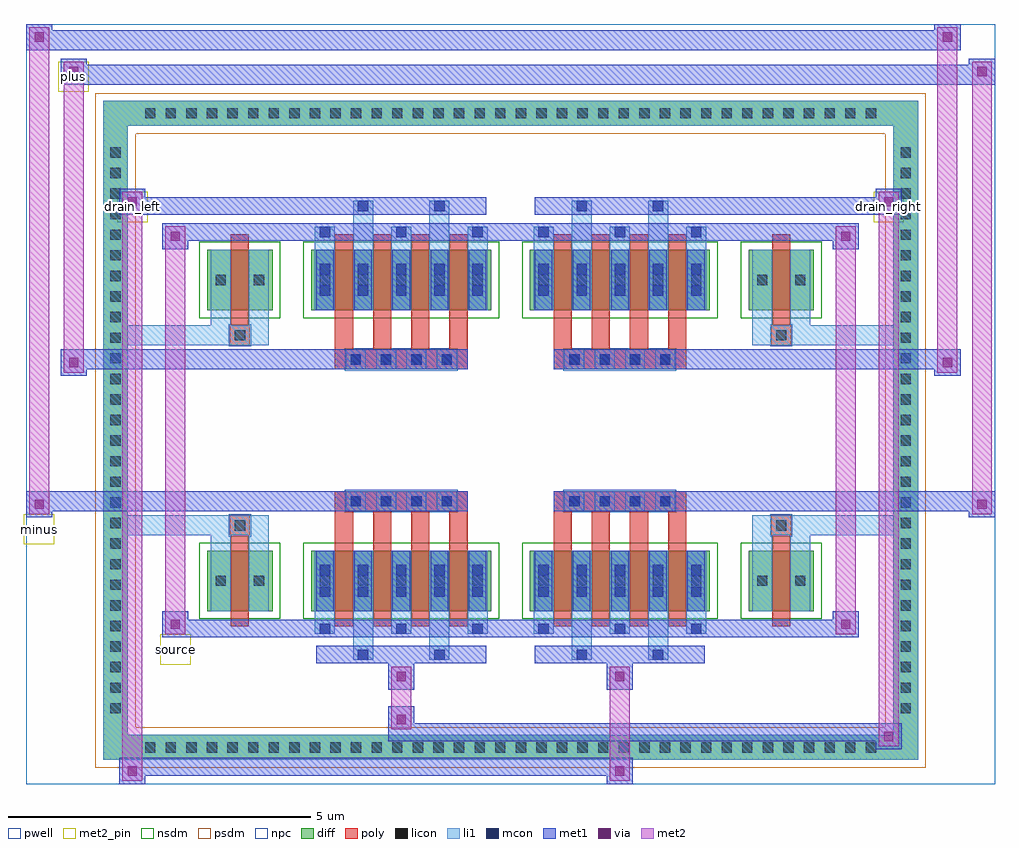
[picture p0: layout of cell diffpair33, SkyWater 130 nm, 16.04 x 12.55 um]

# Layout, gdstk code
import gdstk
lib = gdstk.Library(unit=1e-6, precision=5e-09)
def R(c, l, rs):  # rectangles x0, y0, x1, y1
    for r in rs: c.add(gdstk.rectangle(r[:2], r[2:], *l))
def A(c, l, x, y, w, h, nx, ny, dx, dy):  # array of equal rectangles
    R(c, l, [(x+i*dx, y+j*dy, x+i*dx+w, y+j*dy+h) for i in range(nx) for j in range(ny)])
def P(c, l, *ps):  # polygons
    for p in ps: c.add(gdstk.Polygon(p, *l))
pwell = (64, 44)
diff = (65, 20)
poly = (66, 20)
licon = (66, 44)
li1 = (67, 20)
mcon = (67, 44)
met1 = (68, 20)
via = (68, 44)
met2_pin = (69, 16)
met2 = (69, 20)
nsdm = (93, 44)
psdm = (94, 20)
npc = (95, 20)

diffpair33 = lib.new_cell('diffpair33')
R(diffpair33, pwell, [(-8,-5.84,8,6.71), (-5.32,-4.03,-0.01,-0.805), (0.01,-4.03,5.32,-0.805), (-5.32,0.805,-0.01,4.03), (0.01,0.805,5.32,4.03)])
A(diffpair33, diff, -6.155, -5.44, 0.41, 0.41, 36, 2, 0.34, 10.47)
A(diffpair33, diff, -6.73, -4.795, 0.41, 0.41, 1, 28, 0, 0.34)
A(diffpair33, diff, 6.32, -4.795, 0.41, 0.41, 1, 28, 0, 0.34)
R(diffpair33, diff, [(-6.155,-5.44,6.155,-5.03), (-6.73,-4.795,-6.32,4.795), (6.32,-4.795,6.73,4.795), (-5.01,-2.985,-3.93,-1.985), (-3.29,-2.985,-0.32,-1.985), (0.32,-2.985,3.29,-1.985), (3.93,-2.985,5.01,-1.985), (-5.01,1.985,-3.93,2.985), (-3.29,1.985,-0.32,2.985), (0.32,1.985,3.29,2.985), (3.93,1.985,5.01,2.985), (-6.155,5.03,6.155,5.44)])
P(diffpair33, diff, [(6.73,5.44),(-6.73,5.44),(-6.73,-5.03),(-6.32,-5.03),(-6.32,5.03),(6.32,5.03),(6.32,-5.03),(-6.32,-5.03),(-6.73,-5.03),(-6.73,-5.44),(6.73,-5.44)])
A(diffpair33, poly, -2.9, -3.235, 0.3, 1.5, 4, 2, 0.63, 4.97)
A(diffpair33, poly, 0.71, -3.235, 0.3, 1.5, 4, 2, 0.63, 4.97)
A(diffpair33, poly, -2.9, -1.735, 0.3, 0.4, 4, 2, 0.63, 3.07)
A(diffpair33, poly, 0.71, -1.735, 0.3, 0.4, 4, 2, 0.63, 3.07)
A(diffpair33, poly, -2.72, -1.335, 0.33, 0.33, 4, 2, 0.5, 2.34)
A(diffpair33, poly, 0.89, -1.335, 0.33, 0.33, 4, 2, 0.5, 2.34)
R(diffpair33, poly, [(-4.62,-3.235,-4.32,-1.735), (4.32,-3.235,4.62,-1.735), (-4.635,-1.735,-4.305,-1.405), (-4.635,-1.735,-4.305,-1.405), (4.305,-1.735,4.635,-1.405), (4.305,-1.735,4.635,-1.405), (-2.9,-1.335,-0.71,-1.005), (0.71,-1.335,2.9,-1.005), (-2.9,1.005,-0.71,1.335), (0.71,1.005,2.9,1.335), (-4.635,1.405,-4.305,1.735), (-4.635,1.405,-4.305,1.735), (4.305,1.405,4.635,1.735), (4.305,1.405,4.635,1.735), (-4.62,1.735,-4.32,3.235), (4.32,1.735,4.62,3.235)])
A(diffpair33, licon, -6.035, -5.32, 0.17, 0.17, 36, 2, 0.34, 10.47)
A(diffpair33, licon, -6.61, -4.675, 0.17, 0.17, 1, 28, 0, 0.34)
A(diffpair33, licon, 6.44, -4.675, 0.17, 0.17, 1, 28, 0, 0.34)
A(diffpair33, licon, -3.15, -2.57, 0.17, 0.17, 5, 2, 0.63, 4.97)
A(diffpair33, licon, 0.46, -2.57, 0.17, 0.17, 5, 2, 0.63, 4.97)
A(diffpair33, licon, -2.64, -1.255, 0.17, 0.17, 4, 2, 0.5, 2.34)
A(diffpair33, licon, 0.97, -1.255, 0.17, 0.17, 4, 2, 0.5, 2.34)
R(diffpair33, licon, [(-4.87,-2.57,-4.7,-2.4), (-4.24,-2.57,-4.07,-2.4), (4.07,-2.57,4.24,-2.4), (4.7,-2.57,4.87,-2.4), (-4.555,-1.655,-4.385,-1.485), (4.385,-1.655,4.555,-1.485), (-4.555,1.485,-4.385,1.655), (4.385,1.485,4.555,1.655), (-4.87,2.4,-4.7,2.57), (-4.24,2.4,-4.07,2.57), (4.07,2.4,4.24,2.57), (4.7,2.4,4.87,2.57)])
A(diffpair33, li1, -6.115, -5.4, 0.33, 0.33, 36, 2, 0.34, 10.47)
A(diffpair33, li1, -6.69, -4.755, 0.33, 0.33, 1, 28, 0, 0.34)
A(diffpair33, li1, 6.36, -4.755, 0.33, 0.33, 1, 28, 0, 0.34)
A(diffpair33, li1, -3.23, -3.36, 0.33, 0.375, 3, 2, 1.26, 6.345)
A(diffpair33, li1, -3.15, -3.36, 0.17, 0.17, 3, 2, 1.26, 6.55)
A(diffpair33, li1, 0.38, -3.36, 0.33, 0.375, 3, 2, 1.26, 6.345)
A(diffpair33, li1, 0.46, -3.36, 0.17, 0.17, 3, 2, 1.26, 6.55)
A(diffpair33, li1, -3.23, -2.985, 0.33, 1, 5, 2, 0.63, 4.97)
A(diffpair33, li1, 0.38, -2.985, 0.33, 1, 5, 2, 0.63, 4.97)
A(diffpair33, li1, -3.15, -2.75, 0.17, 0.17, 5, 2, 0.63, 0.36)
A(diffpair33, li1, -3.15, -2.75, 0.17, 0.53, 5, 2, 0.63, 4.97)
A(diffpair33, li1, 0.46, -2.75, 0.17, 0.17, 5, 2, 0.63, 0.36)
A(diffpair33, li1, 0.46, -2.75, 0.17, 0.53, 5, 2, 0.63, 4.97)
A(diffpair33, li1, -3.23, -2.65, 0.33, 0.33, 5, 2, 0.63, 4.97)
A(diffpair33, li1, 0.38, -2.65, 0.33, 0.33, 5, 2, 0.63, 4.97)
A(diffpair33, li1, -2.72, -1.335, 0.33, 0.33, 4, 2, 0.5, 2.34)
A(diffpair33, li1, 0.89, -1.335, 0.33, 0.33, 4, 2, 0.5, 2.34)
A(diffpair33, li1, -3.15, 2.22, 0.17, 0.17, 5, 2, 0.63, 0.36)
A(diffpair33, li1, 0.46, 2.22, 0.17, 0.17, 5, 2, 0.63, 0.36)
R(diffpair33, li1, [(-6.73,-5.44,-6.32,-5.03), (-6.73,-5.44,-6.32,-5.03), (-6.32,-5.44,6.32,-5.03), (6.32,-5.44,6.73,-5.03), (6.32,-5.44,6.73,-5.03), (-6.73,-5.03,-6.32,5.03), (6.32,-5.03,6.73,5.03), (-2.6,-3.79,-2.27,-2.985), (-2.52,-3.79,-2.35,-3.62), (-1.34,-3.79,-1.01,-2.985), (-1.26,-3.79,-1.09,-3.62), (1.01,-3.79,1.34,-2.985), (1.09,-3.79,1.26,-3.62), (2.27,-3.79,2.6,-2.985), (2.35,-3.79,2.52,-3.62), (-4.95,-2.985,-4.62,-1.985), (-4.32,-2.985,-3.99,-1.985), (3.99,-2.985,4.32,-1.985), (4.62,-2.985,4.95,-1.985), (-4.95,-2.65,-4.62,-2.32), (-4.32,-2.65,-3.99,-2.32), (3.99,-2.65,4.32,-2.32), (4.62,-2.65,4.95,-2.32), (-4.95,-1.985,-4.62,-1.405), (-4.32,-1.985,-3.99,-1.405), (3.99,-1.985,4.32,-1.405), (4.62,-1.985,4.95,-1.405), (-6.73,-1.735,-4.635,-1.405), (-4.95,-1.735,-4.635,-1.405), (-4.635,-1.735,-4.305,-1.405), (-4.305,-1.735,-3.99,-1.405), (3.99,-1.735,4.305,-1.405), (4.305,-1.735,4.635,-1.405), (4.305,-1.735,6.73,-1.405), (4.635,-1.735,4.95,-1.405), (-6.73,1.405,-4.635,1.735), (-4.95,1.405,-4.635,1.735), (-4.95,1.405,-4.62,1.985), (-4.635,1.405,-4.305,1.735), (-4.32,1.405,-3.99,1.985), (-4.305,1.405,-3.99,1.735), (3.99,1.405,4.305,1.735), (3.99,1.405,4.32,1.985), (4.305,1.405,4.635,1.735), (4.305,1.405,6.73,1.735), (4.62,1.405,4.95,1.985), (4.635,1.405,4.95,1.735), (-4.95,1.985,-4.62,2.985), (-4.32,1.985,-3.99,2.985), (3.99,1.985,4.32,2.985), (4.62,1.985,4.95,2.985), (-4.95,2.32,-4.62,2.65), (-4.32,2.32,-3.99,2.65), (3.99,2.32,4.32,2.65), (4.62,2.32,4.95,2.65), (-2.6,2.985,-2.27,3.79), (-1.34,2.985,-1.01,3.79), (1.01,2.985,1.34,3.79), (2.27,2.985,2.6,3.79), (-2.52,3.62,-2.35,3.79), (-1.26,3.62,-1.09,3.79), (1.09,3.62,1.26,3.79), (2.35,3.62,2.52,3.79), (-6.73,5.03,-6.32,5.44), (-6.73,5.03,-6.32,5.44), (-6.32,5.03,6.32,5.44), (6.32,5.03,6.73,5.44), (6.32,5.03,6.73,5.44)])
A(diffpair33, mcon, -3.15, -3.36, 0.17, 0.17, 3, 2, 1.26, 6.55)
A(diffpair33, mcon, 0.46, -3.36, 0.17, 0.17, 3, 2, 1.26, 6.55)
A(diffpair33, mcon, -3.15, -2.75, 0.17, 0.17, 5, 2, 0.63, 0.36)
A(diffpair33, mcon, 0.46, -2.75, 0.17, 0.17, 5, 2, 0.63, 0.36)
A(diffpair33, mcon, -2.64, -1.255, 0.17, 0.17, 4, 2, 0.5, 2.34)
A(diffpair33, mcon, 0.97, -1.255, 0.17, 0.17, 4, 2, 0.5, 2.34)
A(diffpair33, mcon, -3.15, 2.22, 0.17, 0.17, 5, 2, 0.63, 0.36)
A(diffpair33, mcon, 0.46, 2.22, 0.17, 0.17, 5, 2, 0.63, 0.36)
R(diffpair33, mcon, [(-2.52,-3.79,-2.35,-3.62), (-1.26,-3.79,-1.09,-3.62), (1.09,-3.79,1.26,-3.62), (2.35,-3.79,2.52,-3.62), (-2.52,3.62,-2.35,3.79), (-1.26,3.62,-1.09,3.79), (1.09,3.62,1.26,3.79), (2.35,3.62,2.52,3.79)])
A(diffpair33, met1, -3.21, -3.42, 0.29, 0.29, 3, 2, 1.26, 6.55)
A(diffpair33, met1, 0.4, -3.42, 0.29, 0.29, 3, 2, 1.26, 6.55)
A(diffpair33, met1, -3.21, -2.985, 0.29, 1, 5, 2, 0.63, 4.97)
A(diffpair33, met1, 0.4, -2.985, 0.29, 1, 5, 2, 0.63, 4.97)
A(diffpair33, met1, -3.21, -2.81, 0.29, 0.29, 5, 2, 0.63, 0.36)
A(diffpair33, met1, 0.4, -2.81, 0.29, 0.29, 5, 2, 0.63, 0.36)
A(diffpair33, met1, -2.7, -1.315, 0.29, 0.29, 4, 2, 0.5, 2.34)
A(diffpair33, met1, 0.91, -1.315, 0.29, 0.29, 4, 2, 0.5, 2.34)
A(diffpair33, met1, -3.21, 2.16, 0.29, 0.29, 5, 2, 0.63, 0.36)
A(diffpair33, met1, 0.4, 2.16, 0.29, 0.29, 5, 2, 0.63, 0.36)
R(diffpair33, met1, [(-6.46,-5.84,-6.03,-5.41), (1.59,-5.84,2.02,-5.41), (-6.46,-5.7,2.02,-5.41), (6.03,-5.27,6.46,-4.84), (-2.02,-5.13,6.46,-4.84), (-2.02,-4.99,-1.59,-4.56), (-2.02,-4.28,-1.59,-3.85), (1.59,-4.28,2.02,-3.85), (-3.21,-3.85,-0.4,-3.56), (-2.58,-3.85,-2.29,-3.56), (-1.32,-3.85,-1.03,-3.56), (0.4,-3.85,3.21,-3.56), (1.03,-3.85,1.32,-3.56), (2.29,-3.85,2.58,-3.56), (-5.75,-3.42,-5.32,-2.99), (-5.75,-3.42,-3.21,-3.13), (-3.21,-3.42,-0.4,-3.13), (-0.4,-3.42,0.4,-3.13), (0.4,-3.42,3.21,-3.13), (3.21,-3.42,5.75,-3.13), (5.32,-3.42,5.75,-2.99), (-8,-1.435,-7.57,-1.005), (7.57,-1.435,8,-1.005), (-8,-1.335,-0.71,-1.005), (-2.9,-1.335,-0.71,-1.005), (0.71,-1.335,2.9,-1.005), (0.71,-1.335,8,-1.005), (-7.43,0.905,-7,1.335), (7,0.905,7.43,1.335), (-7.43,1.005,-2.9,1.335), (-2.9,1.005,-0.71,1.335), (0.71,1.005,2.9,1.335), (2.9,1.005,7.43,1.335), (-5.75,2.99,-5.32,3.42), (5.32,2.99,5.75,3.42), (-5.75,3.13,-3.21,3.42), (-3.21,3.13,-0.4,3.42), (-0.4,3.13,0.4,3.42), (0.4,3.13,3.21,3.42), (3.21,3.13,5.75,3.42), (-6.46,3.56,-6.03,3.99), (-6.46,3.56,-3.21,3.85), (-3.21,3.56,-0.4,3.85), (-2.58,3.56,-2.29,3.85), (-1.32,3.56,-1.03,3.85), (0.4,3.56,3.21,3.85), (1.03,3.56,1.32,3.85), (2.29,3.56,2.58,3.85), (3.21,3.56,6.46,3.85), (6.03,3.56,6.46,3.99), (-7.43,5.71,-7,6.14), (-7.43,5.71,-5.32,6.04), (-5.32,5.71,5.32,6.04), (5.32,5.71,8,6.04), (7.57,5.71,8,6.14), (-8,6.28,-7.57,6.71), (-8,6.28,-5.32,6.61), (-5.32,6.28,5.32,6.61), (5.32,6.28,7.43,6.61), (7,6.28,7.43,6.71)])
R(diffpair33, via, [(-6.32,-5.7,-6.17,-5.55), (1.73,-5.7,1.88,-5.55), (6.17,-5.13,6.32,-4.98), (-1.88,-4.85,-1.73,-4.7), (-1.88,-4.14,-1.73,-3.99), (1.73,-4.14,1.88,-3.99), (-5.61,-3.28,-5.46,-3.13), (5.46,-3.28,5.61,-3.13), (-7.86,-1.295,-7.71,-1.145), (7.71,-1.295,7.86,-1.145), (-7.29,1.045,-7.14,1.195), (7.14,1.045,7.29,1.195), (-5.61,3.13,-5.46,3.28), (5.46,3.13,5.61,3.28), (-6.32,3.7,-6.17,3.85), (6.17,3.7,6.32,3.85), (-7.29,5.85,-7.14,6), (7.71,5.85,7.86,6), (-7.86,6.42,-7.71,6.57), (7.14,6.42,7.29,6.57)])
R(diffpair33, met2_pin, [(-5.785,-3.87,-5.285,-3.37), (-8.035,-1.885,-7.535,-1.385), (-6.495,3.44,-5.995,3.94), (5.995,3.44,6.495,3.94), (-7.465,5.59,-6.965,6.09)])
R(diffpair33, met2, [(-6.41,-5.79,-6.08,-5.46), (-6.41,-5.79,-6.08,3.94), (1.64,-5.79,1.97,-5.46), (1.64,-5.46,1.97,-4.23), (6.08,-5.22,6.41,-4.89), (6.08,-5.22,6.41,3.94), (-1.97,-4.94,-1.64,-4.61), (-1.97,-4.61,-1.64,-4.23), (-1.97,-4.23,-1.64,-3.9), (1.64,-4.23,1.97,-3.9), (-5.7,-3.37,-5.37,-3.04), (-5.7,-3.37,-5.37,3.37), (5.37,-3.37,5.7,-3.04), (5.37,-3.37,5.7,3.37), (-7.95,-1.385,-7.62,-1.055), (-7.95,-1.385,-7.62,6.66), (7.62,-1.385,7.95,-1.055), (7.62,-1.385,7.95,6.09), (-7.38,0.955,-7.05,1.285), (-7.38,0.955,-7.05,6.09), (7.05,0.955,7.38,1.285), (7.05,0.955,7.38,6.66), (-5.7,3.04,-5.37,3.37), (5.37,3.04,5.7,3.37), (-6.41,3.61,-6.08,3.94), (6.08,3.61,6.41,3.94), (-7.38,5.76,-7.05,6.09), (7.62,5.76,7.95,6.09), (-7.95,6.33,-7.62,6.66), (7.05,6.33,7.38,6.66)])
P(diffpair33, met2, [(7.95,-1.385),(7.95,-1.385),(7.95,-1.055),(7.95,-1.055)],
  [(7.95,5.76),(7.95,5.76),(7.95,6.09),(7.95,6.09)],
  [(-7.62,-1.385),(-7.62,-1.385),(-7.62,-1.055),(-7.62,-1.055)],
  [(-7.62,6.33),(-7.62,6.33),(-7.62,6.66),(-7.62,6.66)],
  [(7.38,0.955),(7.38,0.955),(7.38,1.285),(7.38,1.285)],
  [(7.38,6.33),(7.38,6.33),(7.38,6.66),(7.38,6.66)],
  [(-7.05,0.955),(-7.05,0.955),(-7.05,1.285),(-7.05,1.285)],
  [(-7.05,5.76),(-7.05,5.76),(-7.05,6.09),(-7.05,6.09)],
  [(-6.08,-5.79),(-6.08,-5.79),(-6.08,-5.46),(-6.08,-5.46)],
  [(-6.08,3.61),(-6.08,3.61),(-6.08,3.94),(-6.08,3.94)],
  [(6.41,-5.22),(6.41,-5.22),(6.41,-4.89),(6.41,-4.89)],
  [(6.41,3.61),(6.41,3.61),(6.41,3.94),(6.41,3.94)],
  [(-5.37,-3.37),(-5.37,-3.37),(-5.37,-3.04),(-5.37,-3.04)],
  [(-5.37,3.04),(-5.37,3.04),(-5.37,3.37),(-5.37,3.37)],
  [(5.7,-3.37),(5.7,-3.37),(5.7,-3.04),(5.7,-3.04)],
  [(5.7,3.04),(5.7,3.04),(5.7,3.37),(5.7,3.37)])
R(diffpair33, nsdm, [(-5.14,-3.115,-3.8,-1.855), (-3.42,-3.115,-0.19,-1.855), (0.19,-3.115,3.42,-1.855), (3.8,-3.115,5.14,-1.855), (-5.14,1.855,-3.8,3.115), (-3.42,1.855,-0.19,3.115), (0.19,1.855,3.42,3.115), (3.8,1.855,5.14,3.115)])
P(diffpair33, psdm, [(6.86,5.57),(-6.86,5.57),(-6.86,-4.9),(-6.19,-4.9),(-6.19,4.9),(6.19,4.9),(6.19,-4.9),(-6.19,-4.9),(-6.86,-4.9),(-6.86,-5.57),(6.86,-5.57)])
A(diffpair33, npc, -2.74, -1.355, 0.37, 0.37, 4, 2, 0.5, 2.34)
A(diffpair33, npc, 0.87, -1.355, 0.37, 0.37, 4, 2, 0.5, 2.34)
R(diffpair33, npc, [(-4.655,-1.755,-4.285,-1.385), (4.285,-1.755,4.655,-1.385), (-2.74,-1.355,-1.87,-0.985), (-2.74,-1.355,-1.87,-0.985), (-2.24,-1.355,-1.37,-0.985), (-2.24,-1.355,-1.37,-0.985), (-1.74,-1.355,-0.87,-0.985), (-1.74,-1.355,-0.87,-0.985), (0.87,-1.355,1.74,-0.985), (0.87,-1.355,1.74,-0.985), (1.37,-1.355,2.24,-0.985), (1.37,-1.355,2.24,-0.985), (1.87,-1.355,2.74,-0.985), (1.87,-1.355,2.74,-0.985), (-2.74,0.985,-1.87,1.355), (-2.74,0.985,-1.87,1.355), (-2.24,0.985,-1.37,1.355), (-2.24,0.985,-1.37,1.355), (-1.74,0.985,-0.87,1.355), (-1.74,0.985,-0.87,1.355), (0.87,0.985,1.74,1.355), (0.87,0.985,1.74,1.355), (1.37,0.985,2.24,1.355), (1.37,0.985,2.24,1.355), (1.87,0.985,2.74,1.355), (1.87,0.985,2.74,1.355), (-4.655,1.385,-4.285,1.755), (4.285,1.385,4.655,1.755)])
diffpair33.add(gdstk.Label('minus', (-7.785,-1.635), layer=69, texttype=5))
diffpair33.add(gdstk.Label('drain_right', (6.245,3.69), layer=69, texttype=5))
diffpair33.add(gdstk.Label('drain_left', (-6.245,3.69), layer=69, texttype=5))
diffpair33.add(gdstk.Label('source', (-5.535,-3.62), layer=69, texttype=5))
diffpair33.add(gdstk.Label('plus', (-7.215,5.84), layer=69, texttype=5))

lib.write_gds('diffpair33.gds')
